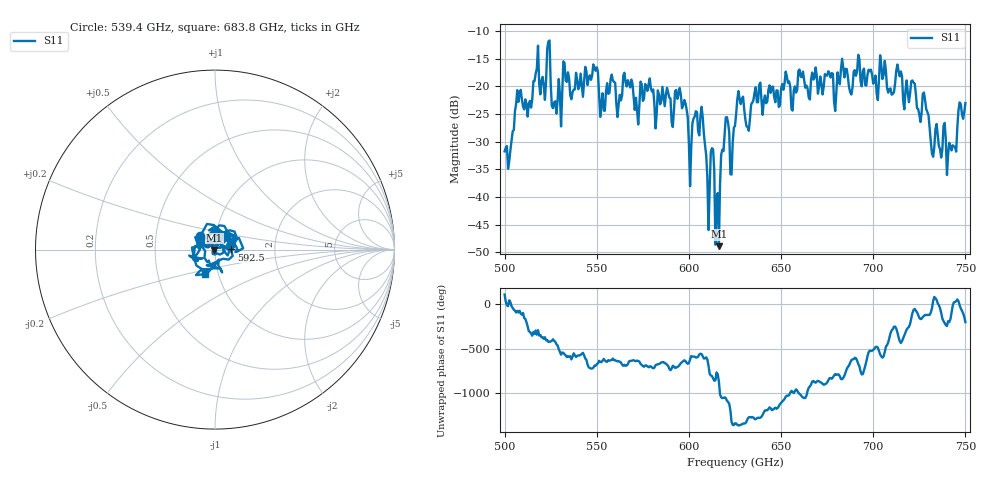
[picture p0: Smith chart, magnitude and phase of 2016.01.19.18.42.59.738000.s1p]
!Created with skrf (http://scikit-rf.org).
# GHz S RI R 50.0
!freq ReS11 ImS11
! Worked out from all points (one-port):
!   401 points, 500 GHz to 750 GHz, reference 50 ohm
!   lowest |S11| = -48.9 dB at 616.2 GHz (marker M1), VSWR 1.01, Z = 49.7 - j0.173 ohm
!   |S11| at or under -10 dB: start of sweep to end of sweep
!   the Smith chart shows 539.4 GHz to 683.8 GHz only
!   S11 on the Smith chart (normalised r, x): 539.4 GHz: 0.83, +0.13; 592.5 GHz: 1.20, +0.00; 683.8 GHz: 0.87, -0.24
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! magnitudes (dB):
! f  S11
! 500 GHz  -31.8
! 516.9 GHz  -17.7
! 520.6 GHz  -18.3
! 523.8 GHz  -11.9
! 526.9 GHz  -22.9
! 531.2 GHz  -21.5
! 539.4 GHz  -18.9
! 549.4 GHz  -17.2
! 553.1 GHz  -21.3
! 558.8 GHz  -19.0
! 562.5 GHz  -21.6
! 592.5 GHz  -20.9
! 593.8 GHz  -22.3
! 600.6 GHz  -38.0
! 607.5 GHz  -25.6
! 610 GHz  -36.4
! 612.5 GHz  -31.2
! 615 GHz  -40.0
! 616.2 GHz  -48.9
! 620 GHz  -25.6
! 623.1 GHz  -36.0
! 625 GHz  -27.2
! 656.2 GHz  -24.4
! 683.8 GHz  -16.7
! 687.5 GHz  -21.1
! 718.8 GHz  -21.2
! 741.2 GHz  -30.2
! 750 GHz  -23.0
